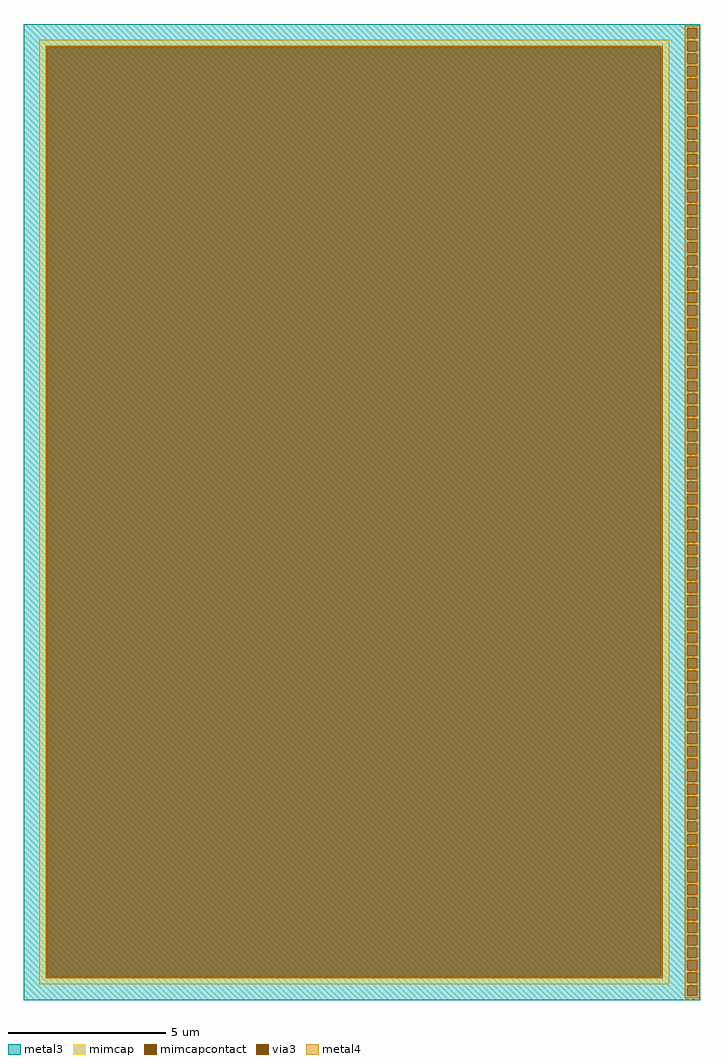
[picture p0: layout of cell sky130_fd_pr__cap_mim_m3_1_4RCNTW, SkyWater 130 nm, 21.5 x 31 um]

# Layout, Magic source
magic
tech sky130A
magscale 1 2
<< metal3 >>
rect -2150 3072 2149 3100
rect -2150 3008 2065 3072
rect 2129 3008 2149 3072
rect -2150 2992 2149 3008
rect -2150 2928 2065 2992
rect 2129 2928 2149 2992
rect -2150 2912 2149 2928
rect -2150 2848 2065 2912
rect 2129 2848 2149 2912
rect -2150 2832 2149 2848
rect -2150 2768 2065 2832
rect 2129 2768 2149 2832
rect -2150 2752 2149 2768
rect -2150 2688 2065 2752
rect 2129 2688 2149 2752
rect -2150 2672 2149 2688
rect -2150 2608 2065 2672
rect 2129 2608 2149 2672
rect -2150 2592 2149 2608
rect -2150 2528 2065 2592
rect 2129 2528 2149 2592
rect -2150 2512 2149 2528
rect -2150 2448 2065 2512
rect 2129 2448 2149 2512
rect -2150 2432 2149 2448
rect -2150 2368 2065 2432
rect 2129 2368 2149 2432
rect -2150 2352 2149 2368
rect -2150 2288 2065 2352
rect 2129 2288 2149 2352
rect -2150 2272 2149 2288
rect -2150 2208 2065 2272
rect 2129 2208 2149 2272
rect -2150 2192 2149 2208
rect -2150 2128 2065 2192
rect 2129 2128 2149 2192
rect -2150 2112 2149 2128
rect -2150 2048 2065 2112
rect 2129 2048 2149 2112
rect -2150 2032 2149 2048
rect -2150 1968 2065 2032
rect 2129 1968 2149 2032
rect -2150 1952 2149 1968
rect -2150 1888 2065 1952
rect 2129 1888 2149 1952
rect -2150 1872 2149 1888
rect -2150 1808 2065 1872
rect 2129 1808 2149 1872
rect -2150 1792 2149 1808
rect -2150 1728 2065 1792
rect 2129 1728 2149 1792
rect -2150 1712 2149 1728
rect -2150 1648 2065 1712
rect 2129 1648 2149 1712
rect -2150 1632 2149 1648
rect -2150 1568 2065 1632
rect 2129 1568 2149 1632
rect -2150 1552 2149 1568
rect -2150 1488 2065 1552
rect 2129 1488 2149 1552
rect -2150 1472 2149 1488
rect -2150 1408 2065 1472
rect 2129 1408 2149 1472
rect -2150 1392 2149 1408
rect -2150 1328 2065 1392
rect 2129 1328 2149 1392
rect -2150 1312 2149 1328
rect -2150 1248 2065 1312
rect 2129 1248 2149 1312
rect -2150 1232 2149 1248
rect -2150 1168 2065 1232
rect 2129 1168 2149 1232
rect -2150 1152 2149 1168
rect -2150 1088 2065 1152
rect 2129 1088 2149 1152
rect -2150 1072 2149 1088
rect -2150 1008 2065 1072
rect 2129 1008 2149 1072
rect -2150 992 2149 1008
rect -2150 928 2065 992
rect 2129 928 2149 992
rect -2150 912 2149 928
rect -2150 848 2065 912
rect 2129 848 2149 912
rect -2150 832 2149 848
rect -2150 768 2065 832
rect 2129 768 2149 832
rect -2150 752 2149 768
rect -2150 688 2065 752
rect 2129 688 2149 752
rect -2150 672 2149 688
rect -2150 608 2065 672
rect 2129 608 2149 672
rect -2150 592 2149 608
rect -2150 528 2065 592
rect 2129 528 2149 592
rect -2150 512 2149 528
rect -2150 448 2065 512
rect 2129 448 2149 512
rect -2150 432 2149 448
rect -2150 368 2065 432
rect 2129 368 2149 432
rect -2150 352 2149 368
rect -2150 288 2065 352
rect 2129 288 2149 352
rect -2150 272 2149 288
rect -2150 208 2065 272
rect 2129 208 2149 272
rect -2150 192 2149 208
rect -2150 128 2065 192
rect 2129 128 2149 192
rect -2150 112 2149 128
rect -2150 48 2065 112
rect 2129 48 2149 112
rect -2150 32 2149 48
rect -2150 -32 2065 32
rect 2129 -32 2149 32
rect -2150 -48 2149 -32
rect -2150 -112 2065 -48
rect 2129 -112 2149 -48
rect -2150 -128 2149 -112
rect -2150 -192 2065 -128
rect 2129 -192 2149 -128
rect -2150 -208 2149 -192
rect -2150 -272 2065 -208
rect 2129 -272 2149 -208
rect -2150 -288 2149 -272
rect -2150 -352 2065 -288
rect 2129 -352 2149 -288
rect -2150 -368 2149 -352
rect -2150 -432 2065 -368
rect 2129 -432 2149 -368
rect -2150 -448 2149 -432
rect -2150 -512 2065 -448
rect 2129 -512 2149 -448
rect -2150 -528 2149 -512
rect -2150 -592 2065 -528
rect 2129 -592 2149 -528
rect -2150 -608 2149 -592
rect -2150 -672 2065 -608
rect 2129 -672 2149 -608
rect -2150 -688 2149 -672
rect -2150 -752 2065 -688
rect 2129 -752 2149 -688
rect -2150 -768 2149 -752
rect -2150 -832 2065 -768
rect 2129 -832 2149 -768
rect -2150 -848 2149 -832
rect -2150 -912 2065 -848
rect 2129 -912 2149 -848
rect -2150 -928 2149 -912
rect -2150 -992 2065 -928
rect 2129 -992 2149 -928
rect -2150 -1008 2149 -992
rect -2150 -1072 2065 -1008
rect 2129 -1072 2149 -1008
rect -2150 -1088 2149 -1072
rect -2150 -1152 2065 -1088
rect 2129 -1152 2149 -1088
rect -2150 -1168 2149 -1152
rect -2150 -1232 2065 -1168
rect 2129 -1232 2149 -1168
rect -2150 -1248 2149 -1232
rect -2150 -1312 2065 -1248
rect 2129 -1312 2149 -1248
rect -2150 -1328 2149 -1312
rect -2150 -1392 2065 -1328
rect 2129 -1392 2149 -1328
rect -2150 -1408 2149 -1392
rect -2150 -1472 2065 -1408
rect 2129 -1472 2149 -1408
rect -2150 -1488 2149 -1472
rect -2150 -1552 2065 -1488
rect 2129 -1552 2149 -1488
rect -2150 -1568 2149 -1552
rect -2150 -1632 2065 -1568
rect 2129 -1632 2149 -1568
rect -2150 -1648 2149 -1632
rect -2150 -1712 2065 -1648
rect 2129 -1712 2149 -1648
rect -2150 -1728 2149 -1712
rect -2150 -1792 2065 -1728
rect 2129 -1792 2149 -1728
rect -2150 -1808 2149 -1792
rect -2150 -1872 2065 -1808
rect 2129 -1872 2149 -1808
rect -2150 -1888 2149 -1872
rect -2150 -1952 2065 -1888
rect 2129 -1952 2149 -1888
rect -2150 -1968 2149 -1952
rect -2150 -2032 2065 -1968
rect 2129 -2032 2149 -1968
rect -2150 -2048 2149 -2032
rect -2150 -2112 2065 -2048
rect 2129 -2112 2149 -2048
rect -2150 -2128 2149 -2112
rect -2150 -2192 2065 -2128
rect 2129 -2192 2149 -2128
rect -2150 -2208 2149 -2192
rect -2150 -2272 2065 -2208
rect 2129 -2272 2149 -2208
rect -2150 -2288 2149 -2272
rect -2150 -2352 2065 -2288
rect 2129 -2352 2149 -2288
rect -2150 -2368 2149 -2352
rect -2150 -2432 2065 -2368
rect 2129 -2432 2149 -2368
rect -2150 -2448 2149 -2432
rect -2150 -2512 2065 -2448
rect 2129 -2512 2149 -2448
rect -2150 -2528 2149 -2512
rect -2150 -2592 2065 -2528
rect 2129 -2592 2149 -2528
rect -2150 -2608 2149 -2592
rect -2150 -2672 2065 -2608
rect 2129 -2672 2149 -2608
rect -2150 -2688 2149 -2672
rect -2150 -2752 2065 -2688
rect 2129 -2752 2149 -2688
rect -2150 -2768 2149 -2752
rect -2150 -2832 2065 -2768
rect 2129 -2832 2149 -2768
rect -2150 -2848 2149 -2832
rect -2150 -2912 2065 -2848
rect 2129 -2912 2149 -2848
rect -2150 -2928 2149 -2912
rect -2150 -2992 2065 -2928
rect 2129 -2992 2149 -2928
rect -2150 -3008 2149 -2992
rect -2150 -3072 2065 -3008
rect 2129 -3072 2149 -3008
rect -2150 -3100 2149 -3072
<< via3 >>
rect 2065 3008 2129 3072
rect 2065 2928 2129 2992
rect 2065 2848 2129 2912
rect 2065 2768 2129 2832
rect 2065 2688 2129 2752
rect 2065 2608 2129 2672
rect 2065 2528 2129 2592
rect 2065 2448 2129 2512
rect 2065 2368 2129 2432
rect 2065 2288 2129 2352
rect 2065 2208 2129 2272
rect 2065 2128 2129 2192
rect 2065 2048 2129 2112
rect 2065 1968 2129 2032
rect 2065 1888 2129 1952
rect 2065 1808 2129 1872
rect 2065 1728 2129 1792
rect 2065 1648 2129 1712
rect 2065 1568 2129 1632
rect 2065 1488 2129 1552
rect 2065 1408 2129 1472
rect 2065 1328 2129 1392
rect 2065 1248 2129 1312
rect 2065 1168 2129 1232
rect 2065 1088 2129 1152
rect 2065 1008 2129 1072
rect 2065 928 2129 992
rect 2065 848 2129 912
rect 2065 768 2129 832
rect 2065 688 2129 752
rect 2065 608 2129 672
rect 2065 528 2129 592
rect 2065 448 2129 512
rect 2065 368 2129 432
rect 2065 288 2129 352
rect 2065 208 2129 272
rect 2065 128 2129 192
rect 2065 48 2129 112
rect 2065 -32 2129 32
rect 2065 -112 2129 -48
rect 2065 -192 2129 -128
rect 2065 -272 2129 -208
rect 2065 -352 2129 -288
rect 2065 -432 2129 -368
rect 2065 -512 2129 -448
rect 2065 -592 2129 -528
rect 2065 -672 2129 -608
rect 2065 -752 2129 -688
rect 2065 -832 2129 -768
rect 2065 -912 2129 -848
rect 2065 -992 2129 -928
rect 2065 -1072 2129 -1008
rect 2065 -1152 2129 -1088
rect 2065 -1232 2129 -1168
rect 2065 -1312 2129 -1248
rect 2065 -1392 2129 -1328
rect 2065 -1472 2129 -1408
rect 2065 -1552 2129 -1488
rect 2065 -1632 2129 -1568
rect 2065 -1712 2129 -1648
rect 2065 -1792 2129 -1728
rect 2065 -1872 2129 -1808
rect 2065 -1952 2129 -1888
rect 2065 -2032 2129 -1968
rect 2065 -2112 2129 -2048
rect 2065 -2192 2129 -2128
rect 2065 -2272 2129 -2208
rect 2065 -2352 2129 -2288
rect 2065 -2432 2129 -2368
rect 2065 -2512 2129 -2448
rect 2065 -2592 2129 -2528
rect 2065 -2672 2129 -2608
rect 2065 -2752 2129 -2688
rect 2065 -2832 2129 -2768
rect 2065 -2912 2129 -2848
rect 2065 -2992 2129 -2928
rect 2065 -3072 2129 -3008
<< mimcap >>
rect -2050 2952 1950 3000
rect -2050 -2952 -2002 2952
rect 1902 -2952 1950 2952
rect -2050 -3000 1950 -2952
<< mimcapcontact >>
rect -2002 -2952 1902 2952
<< metal4 >>
rect 2049 3072 2145 3088
rect 2049 3008 2065 3072
rect 2129 3008 2145 3072
rect 2049 2992 2145 3008
rect -2011 2952 1911 2961
rect -2011 -2952 -2002 2952
rect 1902 -2952 1911 2952
rect -2011 -2961 1911 -2952
rect 2049 2928 2065 2992
rect 2129 2928 2145 2992
rect 2049 2912 2145 2928
rect 2049 2848 2065 2912
rect 2129 2848 2145 2912
rect 2049 2832 2145 2848
rect 2049 2768 2065 2832
rect 2129 2768 2145 2832
rect 2049 2752 2145 2768
rect 2049 2688 2065 2752
rect 2129 2688 2145 2752
rect 2049 2672 2145 2688
rect 2049 2608 2065 2672
rect 2129 2608 2145 2672
rect 2049 2592 2145 2608
rect 2049 2528 2065 2592
rect 2129 2528 2145 2592
rect 2049 2512 2145 2528
rect 2049 2448 2065 2512
rect 2129 2448 2145 2512
rect 2049 2432 2145 2448
rect 2049 2368 2065 2432
rect 2129 2368 2145 2432
rect 2049 2352 2145 2368
rect 2049 2288 2065 2352
rect 2129 2288 2145 2352
rect 2049 2272 2145 2288
rect 2049 2208 2065 2272
rect 2129 2208 2145 2272
rect 2049 2192 2145 2208
rect 2049 2128 2065 2192
rect 2129 2128 2145 2192
rect 2049 2112 2145 2128
rect 2049 2048 2065 2112
rect 2129 2048 2145 2112
rect 2049 2032 2145 2048
rect 2049 1968 2065 2032
rect 2129 1968 2145 2032
rect 2049 1952 2145 1968
rect 2049 1888 2065 1952
rect 2129 1888 2145 1952
rect 2049 1872 2145 1888
rect 2049 1808 2065 1872
rect 2129 1808 2145 1872
rect 2049 1792 2145 1808
rect 2049 1728 2065 1792
rect 2129 1728 2145 1792
rect 2049 1712 2145 1728
rect 2049 1648 2065 1712
rect 2129 1648 2145 1712
rect 2049 1632 2145 1648
rect 2049 1568 2065 1632
rect 2129 1568 2145 1632
rect 2049 1552 2145 1568
rect 2049 1488 2065 1552
rect 2129 1488 2145 1552
rect 2049 1472 2145 1488
rect 2049 1408 2065 1472
rect 2129 1408 2145 1472
rect 2049 1392 2145 1408
rect 2049 1328 2065 1392
rect 2129 1328 2145 1392
rect 2049 1312 2145 1328
rect 2049 1248 2065 1312
rect 2129 1248 2145 1312
rect 2049 1232 2145 1248
rect 2049 1168 2065 1232
rect 2129 1168 2145 1232
rect 2049 1152 2145 1168
rect 2049 1088 2065 1152
rect 2129 1088 2145 1152
rect 2049 1072 2145 1088
rect 2049 1008 2065 1072
rect 2129 1008 2145 1072
rect 2049 992 2145 1008
rect 2049 928 2065 992
rect 2129 928 2145 992
rect 2049 912 2145 928
rect 2049 848 2065 912
rect 2129 848 2145 912
rect 2049 832 2145 848
rect 2049 768 2065 832
rect 2129 768 2145 832
rect 2049 752 2145 768
rect 2049 688 2065 752
rect 2129 688 2145 752
rect 2049 672 2145 688
rect 2049 608 2065 672
rect 2129 608 2145 672
rect 2049 592 2145 608
rect 2049 528 2065 592
rect 2129 528 2145 592
rect 2049 512 2145 528
rect 2049 448 2065 512
rect 2129 448 2145 512
rect 2049 432 2145 448
rect 2049 368 2065 432
rect 2129 368 2145 432
rect 2049 352 2145 368
rect 2049 288 2065 352
rect 2129 288 2145 352
rect 2049 272 2145 288
rect 2049 208 2065 272
rect 2129 208 2145 272
rect 2049 192 2145 208
rect 2049 128 2065 192
rect 2129 128 2145 192
rect 2049 112 2145 128
rect 2049 48 2065 112
rect 2129 48 2145 112
rect 2049 32 2145 48
rect 2049 -32 2065 32
rect 2129 -32 2145 32
rect 2049 -48 2145 -32
rect 2049 -112 2065 -48
rect 2129 -112 2145 -48
rect 2049 -128 2145 -112
rect 2049 -192 2065 -128
rect 2129 -192 2145 -128
rect 2049 -208 2145 -192
rect 2049 -272 2065 -208
rect 2129 -272 2145 -208
rect 2049 -288 2145 -272
rect 2049 -352 2065 -288
rect 2129 -352 2145 -288
rect 2049 -368 2145 -352
rect 2049 -432 2065 -368
rect 2129 -432 2145 -368
rect 2049 -448 2145 -432
rect 2049 -512 2065 -448
rect 2129 -512 2145 -448
rect 2049 -528 2145 -512
rect 2049 -592 2065 -528
rect 2129 -592 2145 -528
rect 2049 -608 2145 -592
rect 2049 -672 2065 -608
rect 2129 -672 2145 -608
rect 2049 -688 2145 -672
rect 2049 -752 2065 -688
rect 2129 -752 2145 -688
rect 2049 -768 2145 -752
rect 2049 -832 2065 -768
rect 2129 -832 2145 -768
rect 2049 -848 2145 -832
rect 2049 -912 2065 -848
rect 2129 -912 2145 -848
rect 2049 -928 2145 -912
rect 2049 -992 2065 -928
rect 2129 -992 2145 -928
rect 2049 -1008 2145 -992
rect 2049 -1072 2065 -1008
rect 2129 -1072 2145 -1008
rect 2049 -1088 2145 -1072
rect 2049 -1152 2065 -1088
rect 2129 -1152 2145 -1088
rect 2049 -1168 2145 -1152
rect 2049 -1232 2065 -1168
rect 2129 -1232 2145 -1168
rect 2049 -1248 2145 -1232
rect 2049 -1312 2065 -1248
rect 2129 -1312 2145 -1248
rect 2049 -1328 2145 -1312
rect 2049 -1392 2065 -1328
rect 2129 -1392 2145 -1328
rect 2049 -1408 2145 -1392
rect 2049 -1472 2065 -1408
rect 2129 -1472 2145 -1408
rect 2049 -1488 2145 -1472
rect 2049 -1552 2065 -1488
rect 2129 -1552 2145 -1488
rect 2049 -1568 2145 -1552
rect 2049 -1632 2065 -1568
rect 2129 -1632 2145 -1568
rect 2049 -1648 2145 -1632
rect 2049 -1712 2065 -1648
rect 2129 -1712 2145 -1648
rect 2049 -1728 2145 -1712
rect 2049 -1792 2065 -1728
rect 2129 -1792 2145 -1728
rect 2049 -1808 2145 -1792
rect 2049 -1872 2065 -1808
rect 2129 -1872 2145 -1808
rect 2049 -1888 2145 -1872
rect 2049 -1952 2065 -1888
rect 2129 -1952 2145 -1888
rect 2049 -1968 2145 -1952
rect 2049 -2032 2065 -1968
rect 2129 -2032 2145 -1968
rect 2049 -2048 2145 -2032
rect 2049 -2112 2065 -2048
rect 2129 -2112 2145 -2048
rect 2049 -2128 2145 -2112
rect 2049 -2192 2065 -2128
rect 2129 -2192 2145 -2128
rect 2049 -2208 2145 -2192
rect 2049 -2272 2065 -2208
rect 2129 -2272 2145 -2208
rect 2049 -2288 2145 -2272
rect 2049 -2352 2065 -2288
rect 2129 -2352 2145 -2288
rect 2049 -2368 2145 -2352
rect 2049 -2432 2065 -2368
rect 2129 -2432 2145 -2368
rect 2049 -2448 2145 -2432
rect 2049 -2512 2065 -2448
rect 2129 -2512 2145 -2448
rect 2049 -2528 2145 -2512
rect 2049 -2592 2065 -2528
rect 2129 -2592 2145 -2528
rect 2049 -2608 2145 -2592
rect 2049 -2672 2065 -2608
rect 2129 -2672 2145 -2608
rect 2049 -2688 2145 -2672
rect 2049 -2752 2065 -2688
rect 2129 -2752 2145 -2688
rect 2049 -2768 2145 -2752
rect 2049 -2832 2065 -2768
rect 2129 -2832 2145 -2768
rect 2049 -2848 2145 -2832
rect 2049 -2912 2065 -2848
rect 2129 -2912 2145 -2848
rect 2049 -2928 2145 -2912
rect 2049 -2992 2065 -2928
rect 2129 -2992 2145 -2928
rect 2049 -3008 2145 -2992
rect 2049 -3072 2065 -3008
rect 2129 -3072 2145 -3008
rect 2049 -3088 2145 -3072
<< properties >>
string FIXED_BBOX -2150 -3100 2050 3100
<< end >>
